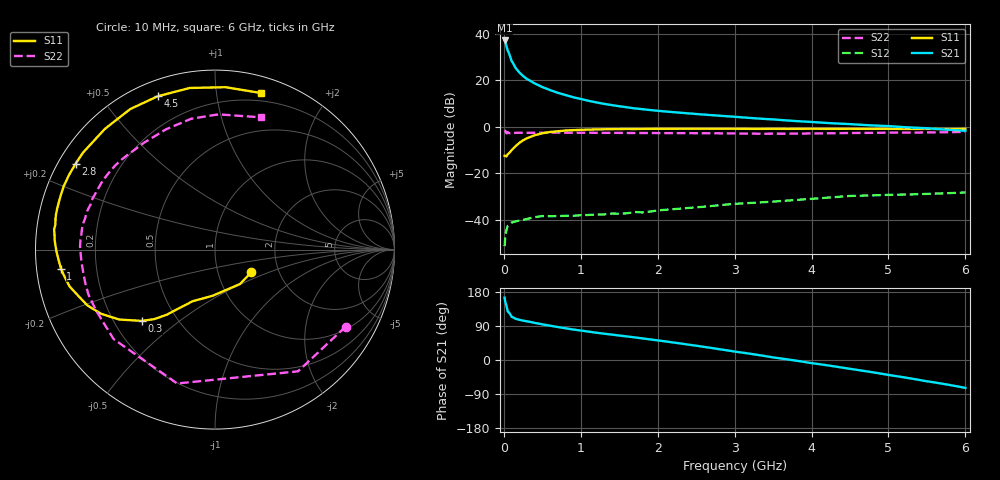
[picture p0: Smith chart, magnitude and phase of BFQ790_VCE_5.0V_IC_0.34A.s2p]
! (c) 2015  Infineon Technologies AG, Munich
! Infineon Technologies  Discrete & RF Semiconductors
! BFQ790
! VCE =  5.0 V,  IC = 0.34 A
! Common Emitter S-Parameters:  May 2015
# GHz  S  MA  R  50
!  f  S11  S21  S12  S22
! GHz  MAG  ANG  MAG  ANG  MAG  ANG  MAG  ANG
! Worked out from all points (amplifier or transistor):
!   77 points, 10 MHz to 6 GHz, reference 50 ohm
!   highest |S21| = 37.2 dB at 10 MHz (marker M1)
!   |S21| within 3 dB of that: start of sweep to 38.74 MHz
!   unconditionally stable (mu >= 1): 161 MHz to end of sweep
!   at 130 MHz: K = 0.89, MSG = 33.9 dB, |S12| = -40.9 dB
!   at 2.2 GHz: K = 1.37, MAG = 17.3 dB, |S12| = -35.4 dB
!   at 6 GHz: K = 1.13, MAG = 11.1 dB, |S12| = -28.2 dB
!   S11 on the Smith chart (normalised r, x): 10 MHz: 1.45, -0.39; 300 MHz: 0.32, -0.37; 1 GHz: 0.07, -0.06; 2.8 GHz: 0.05, +0.28; 4.5 GHz: 0.07, +0.69; 6 GHz: 0.13, +1.33
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0.01  0.2385 -31.8  72.73 164.6  0.0027 69.5  0.8451 -30.5
0.02  0.237 -54.1  66 151.7  0.0047 52.2  0.821 -55.7
0.05  0.2571 -92.7  44.54 128.1  0.0074 37.6  0.7752 -105.8
0.1  0.3139 -113.5  26.52 114.2  0.0087 23.2  0.7533 -138.6
0.15  0.3799 -121.2  18.91 109.0  0.0092 20.9  0.7447 -153.0
0.2  0.4512 -126.5  14.94 106.2  0.0096 18.4  0.7483 -160.5
0.25  0.5137 -131.1  12.49 103.9  0.01 17.7  0.7463 -165.4
0.3  0.5688 -135.7  10.78 102.0  0.0104 16.6  0.7455 -169.2
0.4  0.6611 -143.9  8.633 97.9  0.0114 15.6  0.7469 -174.5
0.5  0.7284 -150.6  7.214 94.1  0.012 13.5  0.749 -178.2
0.6  0.7762 -156.4  6.219 90.5  0.0119 11.5  0.7521 178.6
0.8  0.8353 -165.7  4.859 83.7  0.0122 12.3  0.7492 174.1
1  0.8651 -173.0  3.989 77.8  0.0125 13.5  0.7499 170.5
1.1  0.8736 -176.3  3.653 74.9  0.0127 13.5  0.7488 168.7
1.5  0.8983 174.6  2.782 64.6  0.0135 17.3  0.7429 162.9
2.1  0.9091 163.4  2.149 49.1  0.0164 17.6  0.7354 154.2
2.8  0.9122 148.4  1.743 28.5  0.0206 11.0  0.7276 140.1
3.1  0.9093 141.5  1.604 19.5  0.0225 8.9  0.7186 133.4
4.1  0.9114 119.0  1.245 -11.0  0.029 -6.4  0.7247 109.7
4.5  0.9119 110.5  1.149 -23.3  0.0326 -13.6  0.741 100.3
5.1  0.907 96.4  1.014 -42.5  0.0346 -26.6  0.7531 86.4
6  0.9091 73.7  0.828 -73.6  0.0387 -47.6  0.7805 70.8
